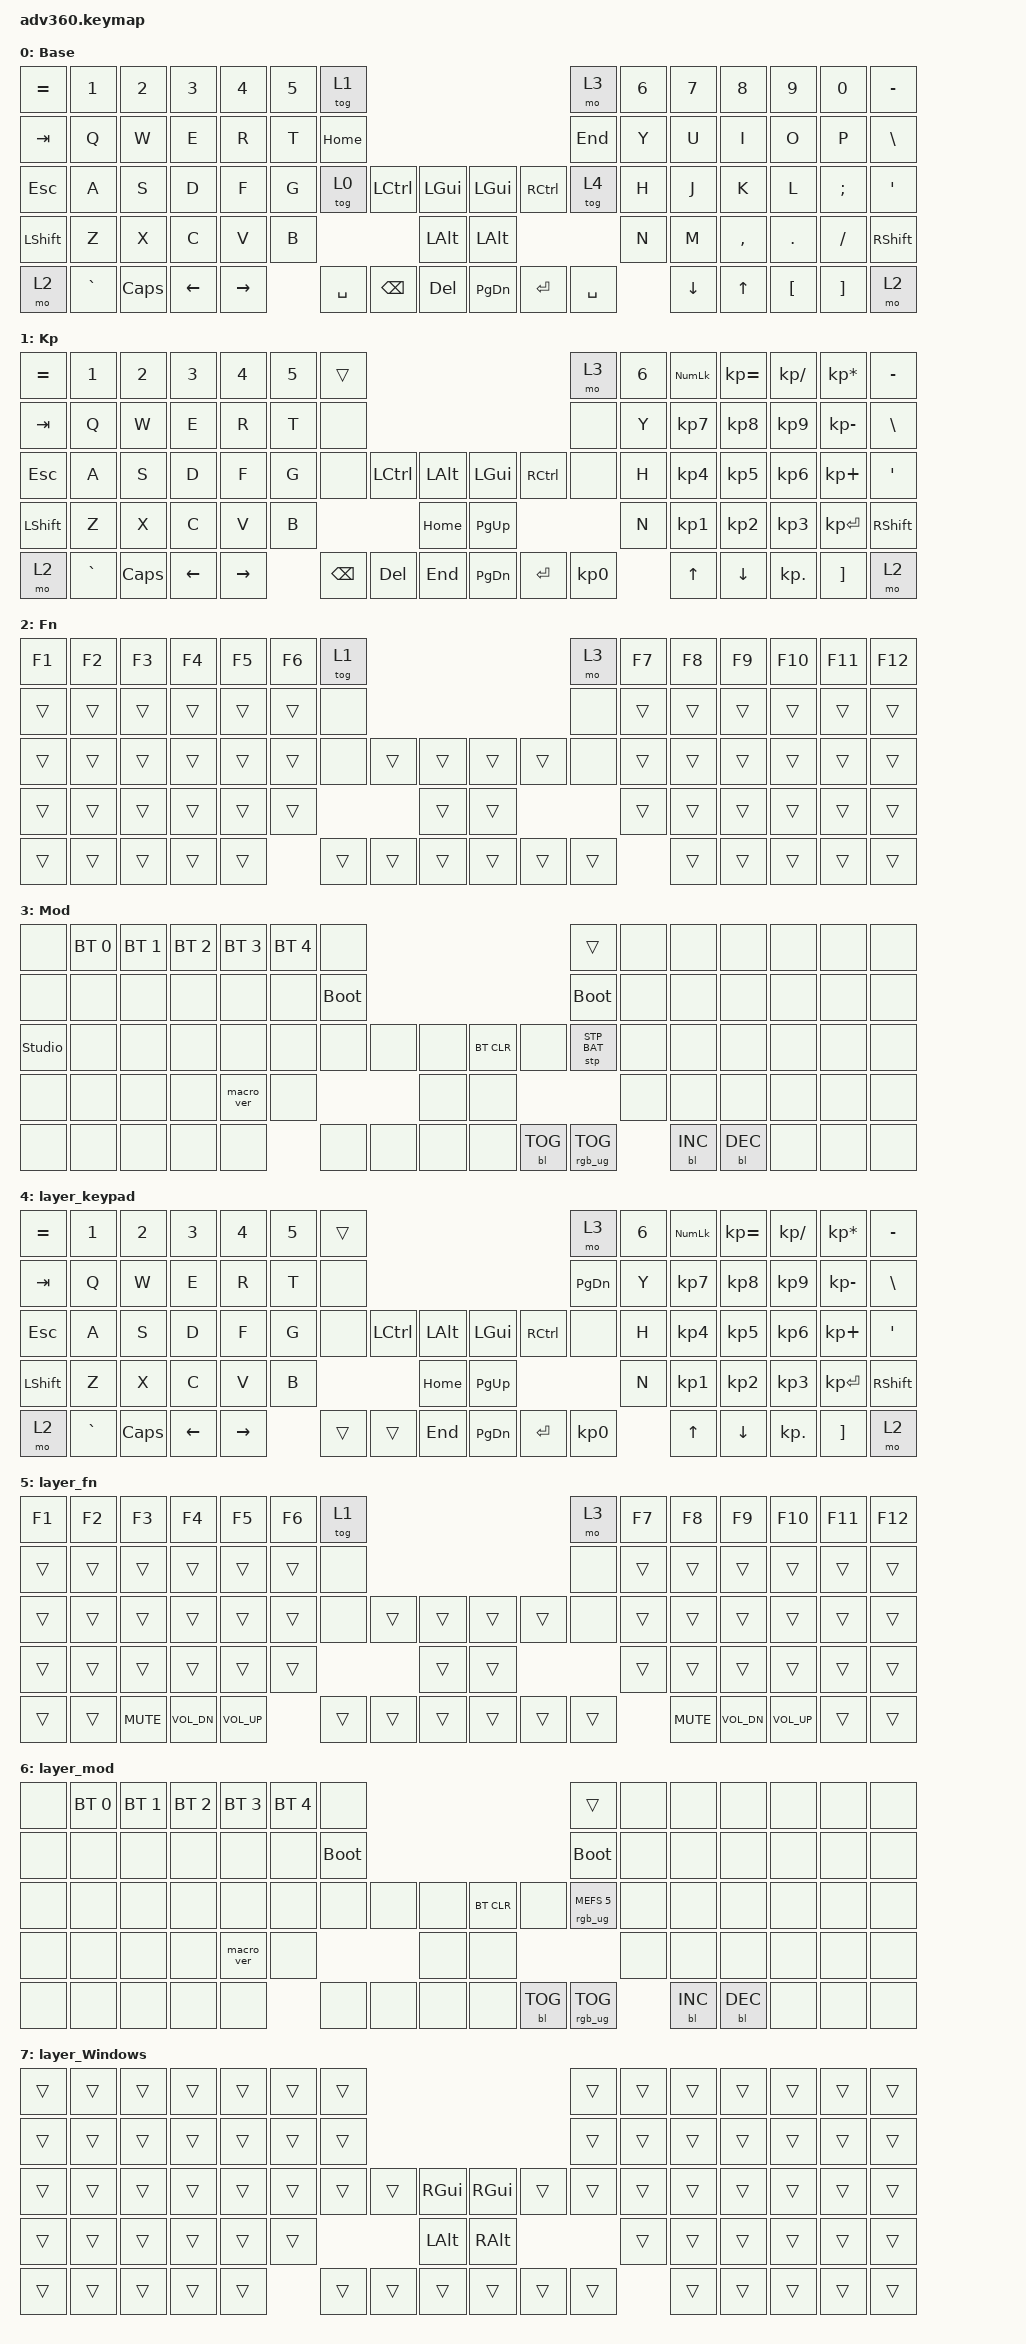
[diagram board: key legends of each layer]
/*
 * Copyright (c) 2020 The ZMK Contributors
 *
 * SPDX-License-Identifier: MIT
 */
/* THIS FILE WAS GENERATED!
 *
 * This file was generated automatically. You may or may not want to
 * edit it directly.
 */

#include <dt-bindings/zmk/stp.h>
#include <behaviors.dtsi>
#include <dt-bindings/zmk/backlight.h>
#include <dt-bindings/zmk/bt.h>
#include <dt-bindings/zmk/keys.h>
#include <dt-bindings/zmk/rgb.h>

/ {
    behaviors {
        #include "macros.dtsi"
      #include "version.dtsi"

        hm: homerow_mods {
            compatible = "zmk,behavior-hold-tap";
            label = "HOMEROW_MODS";
            #binding-cells = <2>;
            tapping-term-ms = <200>;
            quick_tap_ms = <175>;
            flavor = "tap-preferred";
            bindings = <&kp>, <&kp>;
        };
    };

    keymap {
        compatible = "zmk,keymap";

        default_layer {
            display-name = "Base";
            bindings = <
        &kp EQUAL &kp N1    &kp N2   &kp N3   &kp N4     &kp N5 &tog 1                                                           &mo 3 &kp N6 &kp N7 &kp N8    &kp N9   &kp N0   &kp MINUS
        &kp TAB   &kp Q     &kp W    &kp E    &kp R      &kp T  &none                                                            &none &kp Y  &kp U  &kp I     &kp O    &kp P    &kp BSLH
        &kp ESC   &kp A     &kp S    &kp D    &kp F      &kp G  &none           &kp LCTRL &kp LALT &kp LGUI  &kp RCTRL           &none &kp H  &kp J  &kp K     &kp L    &kp SEMI &kp SQT
        &kp LSHFT &kp Z     &kp X    &kp C    &kp V      &kp B                            &kp HOME &kp PG_UP                           &kp N  &kp M  &kp COMMA &kp DOT  &kp FSLH &kp RSHFT
        &mo 2     &kp GRAVE &kp CAPS &kp LEFT &kp RIGHT                &kp BSPC &kp DEL   &kp END  &kp PG_DN &kp ENTER &kp SPACE              &kp UP &kp DOWN  &kp LBKT &kp RBKT &mo 2
            >;
        };

        keypad {
            display-name = "Kp";
            bindings = <
        &kp EQUAL &kp N1    &kp N2   &kp N3   &kp N4     &kp N5 &trans                                                           &mo 3 &kp N6 &kp KP_NUM &kp KP_EQUAL &kp KP_DIVIDE &kp KP_MULTIPLY &kp MINUS
        &kp TAB   &kp Q     &kp W    &kp E    &kp R      &kp T  &none                                                            &none &kp Y  &kp KP_N7  &kp KP_N8    &kp KP_N9     &kp KP_MINUS    &kp BSLH
        &kp ESC   &kp A     &kp S    &kp D    &kp F      &kp G  &none           &kp LCTRL &kp LALT &kp LGUI  &kp RCTRL           &none &kp H  &kp KP_N4  &kp KP_N5    &kp KP_N6     &kp KP_PLUS     &kp SQT
        &kp LSHFT &kp Z     &kp X    &kp C    &kp V      &kp B                            &kp HOME &kp PG_UP                           &kp N  &kp KP_N1  &kp KP_N2    &kp KP_N3     &kp KP_ENTER    &kp RSHFT
        &mo 2     &kp GRAVE &kp CAPS &kp LEFT &kp RIGHT                &kp BSPC &kp DEL   &kp END  &kp PG_DN &kp ENTER &kp KP_N0              &kp UP     &kp DOWN     &kp KP_DOT    &kp RBKT        &mo 2
            >;
        };

        fn {
            display-name = "Fn";
            bindings = <
        &kp F1 &kp F2 &kp F3 &kp F4 &kp F5 &kp F6 &tog 1                                           &mo 3 &kp F7 &kp F8 &kp F9 &kp F10 &kp F11 &kp F12
        &trans &trans &trans &trans &trans &trans  &none                                           &none &trans &trans &trans &trans  &trans  &trans
        &trans &trans &trans &trans &trans &trans  &none        &trans &trans &trans &trans        &none &trans &trans &trans &trans  &trans  &trans
        &trans &trans &trans &trans &trans &trans                      &trans &trans                     &trans &trans &trans &trans  &trans  &trans
        &trans &trans &trans &trans &trans               &trans &trans &trans &trans &trans &trans              &trans &trans &trans  &trans  &trans
            >;
        };

        mod {
            display-name = "Mod";
            bindings = <
        &none &bt BT_SEL 0 &bt BT_SEL 1 &bt BT_SEL 2 &bt BT_SEL 3 &bt BT_SEL 4 &none                                                                     &trans                 &none        &none        &none        &none &none &none
        &none &none        &none        &none        &none        &none        &bootloader                                                               &bootloader            &none        &none        &none        &none &none &none
        &studio_unlock &none        &none        &none        &none        &none        &none                   &none &none &bt BT_CLR &none                      &stp STP_BAT &none        &none        &none        &none &none &none
        &none &none        &none        &none        &macro_ver   &none                                      &none &none                                                        &none        &none        &none        &none &none &none
        &none &none        &none        &none        &none                                       &none &none &none &none      &bl BL_TOG &rgb_ug RGB_TOG                                     &bl BL_INC   &bl BL_DEC   &none &none &none
            >;
        };

        extra1 {
            display-name = "Red";
            status = "reserved";
        };

        extra2 {
            display-name = "Purple";
            status = "reserved";
        };

        extra3 {
            display-name = "Cyan";
            status = "reserved";
        };

        extra4 {
            display-name = "Yellow";
            status = "reserved";
        };
    };

    combos {
        compatible = "zmk,combos";

        wname {
            bindings = <&workname>;
            key-positions = <35 67>;
        };
    };

    macros {
        workname: workname {
            compatible = "zmk,behavior-macro";
            #binding-cells = <0>;
            bindings = <&kp LS(N) &kp N3 &kp N3 &kp N6 &kp N8 &kp N5 &kp N7>;
            label = "WORKNAME";
        };

        workpwd: workpwd {
            compatible = "zmk,behavior-macro";
            #binding-cells = <0>;
            bindings = <&kp C &kp L &kp A &kp M &kp B &kp A &kp K &kp E &kp POUND &kp N2>;
            label = "WORKPWD";
        };
    };

    keymap {
        compatible = "zmk,keymap";

        default_layer {
            bindings = <
&kp EQUAL  &kp N1     &kp N2    &kp N3    &kp N4     &kp N5  &tog 1                                                        &mo 3      &kp N6  &kp N7    &kp N8     &kp N9    &kp N0    &kp MINUS
&kp TAB    &kp Q      &kp W     &kp E     &kp R      &kp T   &kp HOME                                                      &kp END    &kp Y   &kp U     &kp I      &kp O     &kp P     &kp BSLH
&kp ESC    &kp A      &kp S     &kp D     &kp F      &kp G   &tog 0     &kp LCTRL  &kp LEFT_GUI      &kp LGUI   &kp RCTRL  &tog 4     &kp H   &kp J     &kp K      &kp L     &kp SEMI  &kp SQT
&kp LSHFT  &kp Z      &kp X     &kp C     &kp V      &kp B                         &kp LALT          &kp LALT                         &kp N   &kp M     &kp COMMA  &kp DOT   &kp FSLH  &kp RSHFT
&mo 2      &kp GRAVE  &kp CAPS  &kp LEFT  &kp RIGHT          &kp SPACE  &kp BSPC   &kp DEL           &kp PG_DN  &kp ENTER  &kp SPACE          &kp DOWN  &kp UP     &kp LBKT  &kp RBKT  &mo 2
            >;
        };

        layer_keypad {
            bindings = <
&kp EQUAL  &kp N1     &kp N2    &kp N3    &kp N4     &kp N5  &trans                                                 &mo 3      &kp N6  &kp KP_NUM  &kp KP_EQUAL  &kp KP_DIVIDE  &kp KP_MULTIPLY  &kp MINUS
&kp TAB    &kp Q      &kp W     &kp E     &kp R      &kp T   &none                                                  &kp PG_DN  &kp Y   &kp KP_N7   &kp KP_N8     &kp KP_N9      &kp KP_MINUS     &kp BSLH
&kp ESC    &kp A      &kp S     &kp D     &kp F      &kp G   &none   &kp LCTRL  &kp LALT      &kp LGUI   &kp RCTRL  &none      &kp H   &kp KP_N4   &kp KP_N5     &kp KP_N6      &kp KP_PLUS      &kp SQT
&kp LSHFT  &kp Z      &kp X     &kp C     &kp V      &kp B                      &kp HOME      &kp PG_UP                        &kp N   &kp KP_N1   &kp KP_N2     &kp KP_N3      &kp KP_ENTER     &kp RSHFT
&mo 2      &kp GRAVE  &kp CAPS  &kp LEFT  &kp RIGHT          &trans  &trans     &kp END       &kp PG_DN  &kp ENTER  &kp KP_N0          &kp UP      &kp DOWN      &kp KP_DOT     &kp RBKT         &mo 2
            >;
        };

        layer_fn {
            bindings = <
&kp F1  &kp F2  &kp F3      &kp F4        &kp F5        &kp F6  &tog 1                                      &mo 3   &kp F7  &kp F8      &kp F9        &kp F10       &kp F11  &kp F12
&trans  &trans  &trans      &trans        &trans        &trans  &none                                       &none   &trans  &trans      &trans        &trans        &trans   &trans
&trans  &trans  &trans      &trans        &trans        &trans  &none   &trans  &trans      &trans  &trans  &none   &trans  &trans      &trans        &trans        &trans   &trans
&trans  &trans  &trans      &trans        &trans        &trans                  &trans      &trans                  &trans  &trans      &trans        &trans        &trans   &trans
&trans  &trans  &kp C_MUTE  &kp C_VOL_DN  &kp C_VOL_UP          &trans  &trans  &trans      &trans  &trans  &trans          &kp C_MUTE  &kp C_VOL_DN  &kp C_VOL_UP  &trans   &trans
            >;
        };

        layer_mod {
            bindings = <
&none  &bt BT_SEL 0  &bt BT_SEL 1  &bt BT_SEL 2  &bt BT_SEL 3  &bt BT_SEL 4  &none                                                  &trans                  &none  &none       &none       &none  &none  &none
&none  &none         &none         &none         &none         &none         &bootloader                                            &bootloader             &none  &none       &none       &none  &none  &none
&none  &none         &none         &none         &none         &none         &none        &none  &none      &bt BT_CLR  &none       &rgb_ug RGB_MEFS_CMD 5  &none  &none       &none       &none  &none  &none
&none  &none         &none         &none         &macro_ver    &none                             &none      &none                                           &none  &none       &none       &none  &none  &none
&none  &none         &none         &none         &none                       &none        &none  &none      &none       &bl BL_TOG  &rgb_ug RGB_TOG                &bl BL_INC  &bl BL_DEC  &none  &none  &none
            >;
        };

        layer_Windows {
            bindings = <
&trans  &trans  &trans  &trans  &trans  &trans  &trans                                               &trans  &trans  &trans  &trans  &trans  &trans  &trans
&trans  &trans  &trans  &trans  &trans  &trans  &trans                                               &trans  &trans  &trans  &trans  &trans  &trans  &trans
&trans  &trans  &trans  &trans  &trans  &trans  &trans  &trans  &kp RGUI      &kp RIGHT_GUI  &trans  &trans  &trans  &trans  &trans  &trans  &trans  &trans
&trans  &trans  &trans  &trans  &trans  &trans                  &kp LALT      &kp RALT                       &trans  &trans  &trans  &trans  &trans  &trans
&trans  &trans  &trans  &trans  &trans          &trans  &trans  &trans        &trans         &trans  &trans          &trans  &trans  &trans  &trans  &trans
            >;
        };
    };
};
